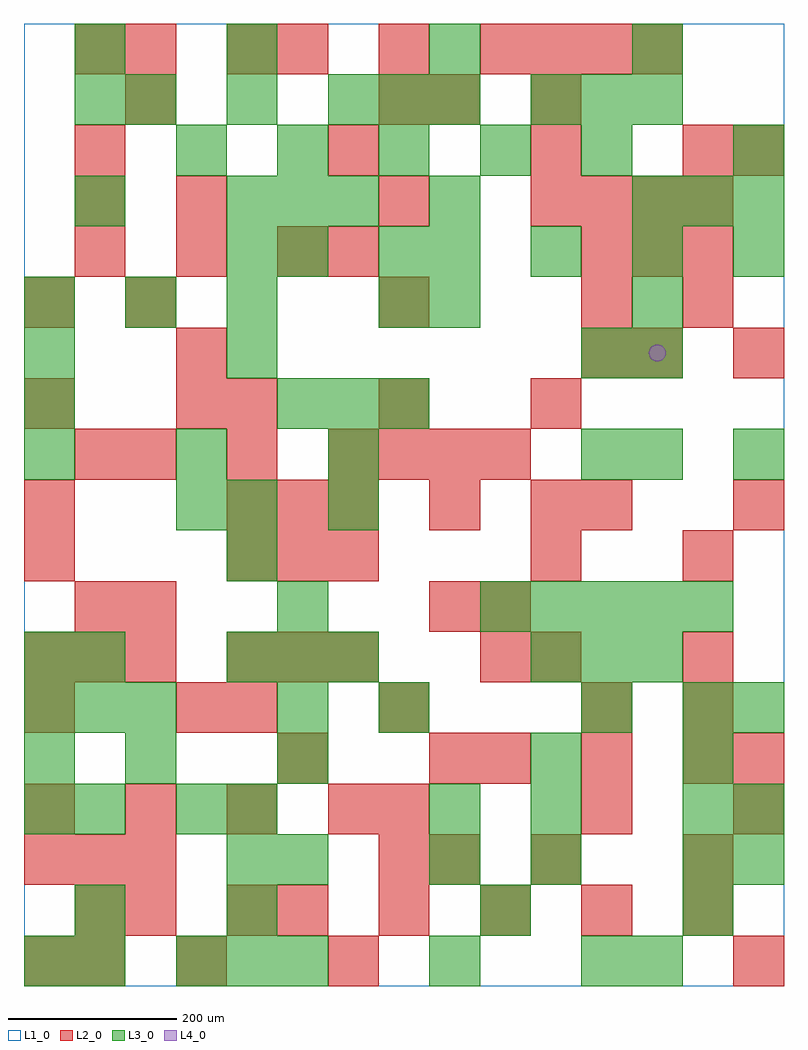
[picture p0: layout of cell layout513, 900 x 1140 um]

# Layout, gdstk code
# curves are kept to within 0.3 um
import gdstk
lib = gdstk.Library(unit=1e-6, precision=1e-09)
def R(c, l, rs):  # rectangles x0, y0, x1, y1
    for r in rs: c.add(gdstk.rectangle(r[:2], r[2:], *l))
def A(c, l, x, y, w, h, nx, ny, dx, dy):  # array of equal rectangles
    R(c, l, [(x+i*dx, y+j*dy, x+i*dx+w, y+j*dy+h) for i in range(nx) for j in range(ny)])
def P(c, l, *ps):  # polygons
    for p in ps: c.add(gdstk.Polygon(p, *l))
L1_0 = (1, 0)
L2_0 = (2, 0)
L3_0 = (3, 0)
L4_0 = (4, 0)

layout513 = lib.new_cell('layout513')
R(layout513, L1_0, [(0,0,900,1140)])
A(layout513, L2_0, 120, 60, 60, 60, 1, 3, 0, 360)
A(layout513, L2_0, 300, 60, 60, 60, 5, 1, 120, 0)
A(layout513, L2_0, 0, 120, 60, 60, 3, 2, 60, 240)
A(layout513, L2_0, 0, 180, 60, 60, 4, 1, 120, 0)
A(layout513, L2_0, 540, 240, 60, 60, 3, 1, 120, 0)
A(layout513, L2_0, 240, 360, 60, 60, 3, 2, 60, 120)
A(layout513, L2_0, 0, 540, 60, 60, 1, 3, 0, 120)
A(layout513, L2_0, 240, 540, 60, 60, 3, 1, 60, 0)
A(layout513, L2_0, 120, 600, 60, 60, 3, 1, 120, 0)
A(layout513, L2_0, 420, 600, 60, 60, 3, 1, 60, 0)
A(layout513, L2_0, 240, 660, 60, 60, 3, 1, 180, 0)
A(layout513, L2_0, 420, 780, 60, 60, 1, 3, 0, 120)
A(layout513, L2_0, 60, 840, 60, 60, 3, 1, 120, 0)
A(layout513, L2_0, 660, 840, 60, 60, 3, 1, 60, 0)
A(layout513, L2_0, 600, 900, 60, 60, 4, 1, 60, 0)
A(layout513, L2_0, 300, 1080, 60, 60, 3, 1, 120, 0)
A(layout513, L2_0, 600, 1080, 60, 60, 3, 1, 60, 0)
R(layout513, L2_0, [(0,0,60,60), (60,0,120,60), (180,0,240,60), (360,0,420,60), (840,0,900,60), (60,60,120,120), (240,60,300,120), (420,120,480,180), (480,120,540,180), (600,120,660,180), (780,120,840,180), (420,180,480,240), (660,180,720,240), (840,180,900,240), (300,240,360,300), (480,240,540,300), (840,240,900,300), (0,300,60,360), (180,300,240,360), (240,300,300,360), (420,300,480,360), (660,300,720,360), (780,300,840,360), (540,360,600,420), (600,360,660,420), (780,360,840,420), (60,420,120,480), (480,420,540,480), (540,420,600,480), (0,480,60,540), (600,480,660,540), (780,480,840,540), (480,540,540,600), (600,540,660,600), (660,540,720,600), (840,540,900,600), (60,600,120,660), (180,660,240,720), (180,720,240,780), (660,720,720,780), (720,720,780,780), (840,720,900,780), (660,780,720,840), (780,780,840,840), (360,840,420,900), (60,900,120,960), (180,900,240,960), (60,960,120,1020), (360,960,420,1020), (600,960,660,1020), (780,960,840,1020), (840,960,900,1020), (120,1020,180,1080), (480,1020,540,1080), (600,1020,660,1080), (60,1080,120,1140), (120,1080,180,1140), (240,1080,300,1140)])
A(layout513, L3_0, 180, 0, 60, 60, 3, 1, 60, 0)
A(layout513, L3_0, 660, 0, 60, 60, 1, 3, 0, 300)
A(layout513, L3_0, 240, 60, 60, 60, 1, 3, 0, 60)
A(layout513, L3_0, 780, 60, 60, 60, 1, 5, 0, 60)
A(layout513, L3_0, 600, 120, 60, 60, 1, 3, 0, 60)
A(layout513, L3_0, 0, 300, 60, 60, 3, 1, 60, 0)
A(layout513, L3_0, 240, 360, 60, 60, 3, 2, 60, 540)
A(layout513, L3_0, 600, 360, 60, 60, 3, 2, 60, 660)
A(layout513, L3_0, 540, 420, 60, 60, 5, 1, 60, 0)
A(layout513, L3_0, 0, 600, 60, 60, 3, 1, 180, 0)
A(layout513, L3_0, 300, 660, 60, 60, 3, 1, 60, 0)
A(layout513, L3_0, 0, 780, 60, 60, 3, 1, 120, 0)
A(layout513, L3_0, 480, 780, 60, 60, 1, 3, 0, 120)
A(layout513, L3_0, 480, 840, 60, 60, 4, 1, 120, 0)
A(layout513, L3_0, 720, 900, 60, 60, 3, 1, 60, 0)
A(layout513, L3_0, 180, 960, 60, 60, 5, 1, 120, 0)
A(layout513, L3_0, 120, 1020, 60, 60, 3, 1, 120, 0)
A(layout513, L3_0, 240, 1080, 60, 60, 3, 1, 240, 0)
R(layout513, L3_0, [(0,0,60,60), (60,0,120,60), (480,0,540,60), (720,0,780,60), (60,60,120,120), (540,60,600,120), (300,120,360,180), (480,120,540,180), (840,120,900,180), (0,180,60,240), (60,180,120,240), (180,180,240,240), (480,180,540,240), (840,180,900,240), (0,240,60,300), (120,240,180,300), (300,240,360,300), (300,300,360,360), (420,300,480,360), (840,300,900,360), (0,360,60,420), (60,360,120,420), (300,420,360,480), (240,480,300,540), (180,540,240,600), (240,540,300,600), (360,540,420,600), (720,600,780,660), (840,600,900,660), (0,660,60,720), (0,720,60,780), (240,720,300,780), (660,720,720,780), (720,720,780,780), (420,780,480,840), (720,780,780,840), (240,840,300,900), (300,840,360,900), (420,840,480,900), (60,900,120,960), (840,960,900,1020), (60,1020,120,1080), (420,1020,480,1080), (60,1080,120,1140)])
P(layout513, L4_0, [(760,750),(759.239,753.827),(757.071,757.071),(753.827,759.239),(750,760),(746.173,759.239),(742.929,757.071),(740.761,753.827),(740,750),(740.761,746.173),(742.929,742.929),(746.173,740.761),(750,740),(753.827,740.761),(757.071,742.929),(759.239,746.173)])

lib.write_gds('layout513.gds')
